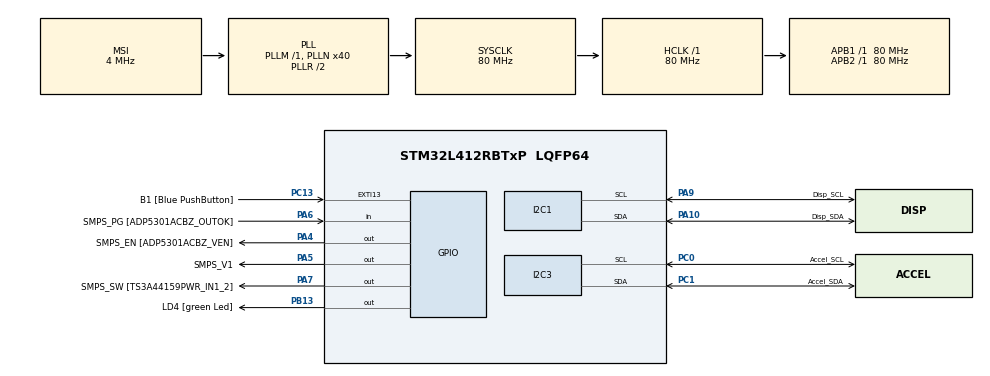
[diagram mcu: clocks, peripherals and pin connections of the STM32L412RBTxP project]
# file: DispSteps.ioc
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I2C1.Timing=0x10909CEC
I2C3.Timing=0x10909CEC
Mcu.Family=STM32L4
Mcu.Name=STM32L412RBTxP
Mcu.Package=LQFP64
NVIC.PriorityGroup=NVIC_PRIORITYGROUP_4
PA10.GPIO_Label=Disp_SDA
PA10.Mode=I2C
PA10.Signal=I2C1_SDA
PA13\ (JTMS/SWDIO).GPIO_Label=TMS
PA13\ (JTMS/SWDIO).Signal=SYS_JTMS-SWDIO
PA14\ (JTCK/SWCLK).GPIO_Label=TCK
PA14\ (JTCK/SWCLK).Signal=SYS_JTCK-SWCLK
PA2.GPIO_Label=USART_TX
PA2.GPIO_PuPd=GPIO_NOPULL
PA2.GPIO_Speed=GPIO_SPEED_FREQ_VERY_HIGH
PA2.Signal=USART2_TX
PA3.GPIO_Label=USART_RX
PA3.GPIO_PuPd=GPIO_NOPULL
PA3.GPIO_Speed=GPIO_SPEED_FREQ_VERY_HIGH
PA3.Signal=USART2_RX
PA4.GPIO_Label=SMPS_EN [ADP5301ACBZ_VEN]
PA4.Signal=GPIO_Output
PA5.GPIO_Label=SMPS_V1
PA5.GPIO_ModeDefaultOutputPP=GPIO_MODE_OUTPUT_PP
PA5.GPIO_PuPd=GPIO_NOPULL
PA5.GPIO_Speed=GPIO_SPEED_FREQ_LOW
PA5.Signal=GPIO_Output
PA6.GPIO_Label=SMPS_PG [ADP5301ACBZ_OUTOK]
PA6.GPIO_PuPd=GPIO_PULLUP
PA6.Signal=GPIO_Input
PA7.GPIO_Label=SMPS_SW [TS3A44159PWR_IN1_2]
PA7.Signal=GPIO_Output
PA9.GPIO_Label=Disp_SCL
PA9.Mode=I2C
PA9.Signal=I2C1_SCL
PB13.GPIO_Label=LD4 [green Led]
PB13.Signal=GPIO_Output
PB3\ (JTDO/TRACESWO).GPIO_Label=SWO
PB3\ (JTDO/TRACESWO).Signal=SYS_JTDO-SWO
PC0.GPIO_Label=Accel_SCL
PC0.Mode=I2C
PC0.Signal=I2C3_SCL
PC1.GPIO_Label=Accel_SDA
PC1.Mode=I2C
PC1.Signal=I2C3_SDA
PC13.GPIO_Label=B1 [Blue PushButton]
PC13.GPIO_ModeDefaultEXTI=GPIO_MODE_IT_FALLING
PC13.GPIO_PuPd=GPIO_NOPULL
PC13.Signal=GPXTI13
PC14-OSC32_IN\ (PC14).Signal=RCC_OSC32_IN
PC15-OSC32_OUT\ (PC15).Signal=RCC_OSC32_OUT
PH0-OSC_IN\ (PH0).GPIO_Label=MCO
PH0-OSC_IN\ (PH0).Signal=RCC_OSC_IN
PH1-OSC_OUT\ (PH1).Signal=RCC_OSC_OUT
ProjectManager.HeapSize=0x200
ProjectManager.StackSize=0x400
ProjectManager.TargetToolchain=STM32CubeIDE
RCC.ADCFreq_Value=80000000
RCC.AHBFreq_Value=80000000
RCC.APB1Freq_Value=80000000
RCC.APB1TimFreq_Value=80000000
RCC.APB2Freq_Value=80000000
RCC.APB2TimFreq_Value=80000000
RCC.CortexFreq_Value=80000000
RCC.FLatency=FLASH_LATENCY_4
RCC.HCLKFreq_Value=80000000
RCC.HSE_VALUE=8000000
RCC.HSI48_VALUE=48000000
RCC.HSICalibrationValue=16
RCC.HSI_VALUE=16000000
RCC.LSE_VALUE=32768
RCC.MSI_VALUE=4000000
RCC.PLLN=40
RCC.PREFETCH_ENABLE=1
RCC.SYSCLKFreq_VALUE=80000000
RCC.SYSCLKSource=RCC_SYSCLKSOURCE_PLLCLK
RCC.USBFreq_Value=4000000
RCC.VCOOutputFreq_Value=160000000
board=NUCLEO-L412RB-P

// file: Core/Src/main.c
/* USER CODE BEGIN Header */
/**
  ******************************************************************************
  * @file           : main.c
  * @brief          : Main program body
  ******************************************************************************
  * @attention
  *
  * Copyright (c) 2023 STMicroelectronics.
  * All rights reserved.
  *
  * This software is licensed under terms that can be found in the LICENSE file
  * in the root directory of this software component.
  * If no LICENSE file comes with this software, it is provided AS-IS.
  *
  ******************************************************************************
  */
/* USER CODE END Header */
#include "main.h"

/* USER CODE BEGIN Includes */
#include <string.h>
#include <stdio.h>
#include "stm32l4xx.h"
#include "I2C.h"
#include "ssd1306.h"
#include "lis3dh.h"
#include "count_steps.h"
#include "stdio.h"  //using this for printing debug outputs
#include "math.h"   //using this for converting the CSV data from float to int
/* USER CODE END Includes */

/* USER CODE BEGIN PD */
#define NUM_SAMPLES_IN_CSV_FILE 200//400
/* USER CODE END PD */

I2C_HandleTypeDef hi2c1;
I2C_HandleTypeDef hi2c3;

/* USER CODE BEGIN PV */
// Allocate a buffer for reading data from the sensor.
// Six bytes required to read XYZ data.
uint8_t xyz_buf[6] = { 0 };
// New instance of the lis3dh convenience object.
lis3dh_t lis3dh;

// lis3dh calls return this HAL status type.
HAL_StatusTypeDef status;
/* USER CODE END PV */

void SystemClock_Config(void);
static void MX_GPIO_Init(void);
static void MX_I2C1_Init(void);
static void MX_I2C3_Init(void);

int main(void)
{

  /* MCU Configuration--------------------------------------------------------*/

  /* Reset of all peripherals, Initializes the Flash interface and the Systick. */
  HAL_Init();

  /* Configure the system clock */
  SystemClock_Config();

  /* Initialize all configured peripherals */
  MX_GPIO_Init();
  MX_I2C1_Init();
  MX_I2C3_Init();
  /* USER CODE BEGIN 2 */

  status = lis3dh_init(&lis3dh, &hi2c3, xyz_buf, 6);

        if (status != HAL_OK) {
        	 HAL_GPIO_TogglePin(GPIOB, GPIO_PIN_13);
          // Unable to communicate with device!
        }

        char message[64] = "Starting Up";
          //ssd1306_TestAll();
          ssd1306_Init();
          ssd1306_Fill(Black);
          ssd1306_SetCursor(2,0);
          ssd1306_WriteString(message, Font_11x18, White);
          ssd1306_UpdateScreen();
  /* USER CODE END 2 */

  /* Infinite loop */
  /* USER CODE BEGIN WHILE */
        uint8_t  num_steps  = 0;
        //char buf[20];
        while (1)
              {
        	//hold the data from the CSV file in a fifo-like data structure where the accelerometer data looks like
        	        	    	    //[x1,y1,z1,x2,y2,z2...x400,y400,z400]
        	        	    	    int8_t acc[NUM_SAMPLES_IN_CSV_FILE*3] = {0};
        	        	    	    uint16_t i    = 0;
        	        	    	    float    temp = 0;
        	        	    	    while(i < NUM_SAMPLES_IN_CSV_FILE*3) //while data array is being filled
        	        	        	{
        	        	    			  HAL_Delay(50); //20Hz
        	        	    			  HAL_GPIO_TogglePin(GPIOB, GPIO_PIN_13);

        	        	    			//scaling factor to convert the decimal data to int8 integers. calculated in matlab by taking the absolute value of all the data
        	        	    			//and then calculating the max of that data. then divide that by 127 to get the scaling factor
        	        	    			  float scale_factor = 55.3293;

        	        					  if (lis3dh_xyz_available(&lis3dh)) {
        	        							status = lis3dh_get_xyz(&lis3dh);
        	        							float xx = lis3dh.x/16384;
        	        							float yy = lis3dh.y/16384;
        	        							float zz = lis3dh.z/16384;

        	        							temp     = roundf(xx*scale_factor);
        	        							acc[i++] = (int8_t)temp;

        	        							temp     = roundf(yy*scale_factor);
        	        							acc[i++] = (int8_t)temp;

        	        							temp     = roundf(zz*scale_factor);
        	        							acc[i++] = (int8_t)temp;

        	        							//printf("%f, %f, %f\r\n",xx,yy,zz);
        	        							// You now have raw acceleration of gravity in lis3dh->x, y, and z.

        	        						  }
        	        	        	  }
        	        	        	  //pass data to step counting algorithm, 4 seconds at a time (which is the WINDOW_LENGTH). put the data into a temporary buffer each loop
        	        	        	      int8_t   data[NUM_TUPLES*3] = {0};
        	        	        	      uint8_t  num_segments       = NUM_SAMPLES_IN_CSV_FILE/(SAMPLING_RATE*WINDOW_LENGTH);
        	        	        	      uint16_t j                  = 0;

        	        	        	      for (i = 0; i < num_segments; i++) {
        	        	        	          for (j = SAMPLING_RATE*WINDOW_LENGTH*i*3; j < SAMPLING_RATE*WINDOW_LENGTH*(i+1)*3; j++) {
        	        	        	              data[j-SAMPLING_RATE*WINDOW_LENGTH*i*3] = acc[j];
        	        	        	          }
        	        	        	          num_steps += count_steps(data);
        	        	        	      }

        	        	        	      printf("num steps: %i\n\r", num_steps);
        	        	        	      ssd1306_Fill(Black);
        	        	        	      ssd1306_SetCursor(2,0);
        	        	        	      ssd1306_WriteString("Steps:", Font_11x18, White);
        	        	        	      ssd1306_SetCursor(2,15);
        	        	        	      ssd1306_WriteString(itoa(num_steps,message,10), Font_11x18, White);
        	        	        	      ssd1306_SetCursor(2,30);
        	        	        	      ssd1306_WriteString("Distance:", Font_11x18, White);
        	        	        	      ssd1306_SetCursor(2,45);
        	        	        	      ssd1306_WriteString("20 miles", Font_11x18, White);
        	        	        	      ssd1306_UpdateScreen();
    /* USER CODE END WHILE */

              }
}

void SystemClock_Config(void)
{
  RCC_OscInitTypeDef RCC_OscInitStruct = {0};
  RCC_ClkInitTypeDef RCC_ClkInitStruct = {0};

  /** Configure the main internal regulator output voltage
  */
  if (HAL_PWREx_ControlVoltageScaling(PWR_REGULATOR_VOLTAGE_SCALE1) != HAL_OK)
  {
    Error_Handler();
  }

  /** Initializes the RCC Oscillators according to the specified parameters
  * in the RCC_OscInitTypeDef structure.
  */
  RCC_OscInitStruct.OscillatorType = RCC_OSCILLATORTYPE_MSI;
  RCC_OscInitStruct.MSIState = RCC_MSI_ON;
  RCC_OscInitStruct.MSICalibrationValue = 0;
  RCC_OscInitStruct.MSIClockRange = RCC_MSIRANGE_6;
  RCC_OscInitStruct.PLL.PLLState = RCC_PLL_ON;
  RCC_OscInitStruct.PLL.PLLSource = RCC_PLLSOURCE_MSI;
  RCC_OscInitStruct.PLL.PLLM = 1;
  RCC_OscInitStruct.PLL.PLLN = 40;
  RCC_OscInitStruct.PLL.PLLQ = RCC_PLLQ_DIV2;
  RCC_OscInitStruct.PLL.PLLR = RCC_PLLR_DIV2;
  if (HAL_RCC_OscConfig(&RCC_OscInitStruct) != HAL_OK)
  {
    Error_Handler();
  }

  /** Initializes the CPU, AHB and APB buses clocks
  */
  RCC_ClkInitStruct.ClockType = RCC_CLOCKTYPE_HCLK|RCC_CLOCKTYPE_SYSCLK
                              |RCC_CLOCKTYPE_PCLK1|RCC_CLOCKTYPE_PCLK2;
  RCC_ClkInitStruct.SYSCLKSource = RCC_SYSCLKSOURCE_PLLCLK;
  RCC_ClkInitStruct.AHBCLKDivider = RCC_SYSCLK_DIV1;
  RCC_ClkInitStruct.APB1CLKDivider = RCC_HCLK_DIV1;
  RCC_ClkInitStruct.APB2CLKDivider = RCC_HCLK_DIV1;

  if (HAL_RCC_ClockConfig(&RCC_ClkInitStruct, FLASH_LATENCY_4) != HAL_OK)
  {
    Error_Handler();
  }
}

static void MX_I2C1_Init(void)
{

  hi2c1.Instance = I2C1;
  hi2c1.Init.Timing = 0x10909CEC;
  hi2c1.Init.OwnAddress1 = 0;
  hi2c1.Init.AddressingMode = I2C_ADDRESSINGMODE_7BIT;
  hi2c1.Init.DualAddressMode = I2C_DUALADDRESS_DISABLE;
  hi2c1.Init.OwnAddress2 = 0;
  hi2c1.Init.OwnAddress2Masks = I2C_OA2_NOMASK;
  hi2c1.Init.GeneralCallMode = I2C_GENERALCALL_DISABLE;
  hi2c1.Init.NoStretchMode = I2C_NOSTRETCH_DISABLE;
  if (HAL_I2C_Init(&hi2c1) != HAL_OK)
  {
    Error_Handler();
  }

  /** Configure Analogue filter
  */
  if (HAL_I2CEx_ConfigAnalogFilter(&hi2c1, I2C_ANALOGFILTER_ENABLE) != HAL_OK)
  {
    Error_Handler();
  }

  /** Configure Digital filter
  */
  if (HAL_I2CEx_ConfigDigitalFilter(&hi2c1, 0) != HAL_OK)
  {
    Error_Handler();
  }

}

static void MX_I2C3_Init(void)
{

  hi2c3.Instance = I2C3;
  hi2c3.Init.Timing = 0x10909CEC;
  hi2c3.Init.OwnAddress1 = 0;
  hi2c3.Init.AddressingMode = I2C_ADDRESSINGMODE_7BIT;
  hi2c3.Init.DualAddressMode = I2C_DUALADDRESS_DISABLE;
  hi2c3.Init.OwnAddress2 = 0;
  hi2c3.Init.OwnAddress2Masks = I2C_OA2_NOMASK;
  hi2c3.Init.GeneralCallMode = I2C_GENERALCALL_DISABLE;
  hi2c3.Init.NoStretchMode = I2C_NOSTRETCH_DISABLE;
  if (HAL_I2C_Init(&hi2c3) != HAL_OK)
  {
    Error_Handler();
  }

  /** Configure Analogue filter
  */
  if (HAL_I2CEx_ConfigAnalogFilter(&hi2c3, I2C_ANALOGFILTER_ENABLE) != HAL_OK)
  {
    Error_Handler();
  }

  /** Configure Digital filter
  */
  if (HAL_I2CEx_ConfigDigitalFilter(&hi2c3, 0) != HAL_OK)
  {
    Error_Handler();
  }

}

static void MX_GPIO_Init(void)
{
  GPIO_InitTypeDef GPIO_InitStruct = {0};

  /* GPIO Ports Clock Enable */
  __HAL_RCC_GPIOC_CLK_ENABLE();
  __HAL_RCC_GPIOH_CLK_ENABLE();
  __HAL_RCC_GPIOA_CLK_ENABLE();
  __HAL_RCC_GPIOB_CLK_ENABLE();

  /*Configure GPIO pin Output Level */
  HAL_GPIO_WritePin(GPIOA, SMPS_EN_Pin|SMPS_V1_Pin|SMPS_SW_Pin, GPIO_PIN_RESET);

  /*Configure GPIO pin Output Level */
  HAL_GPIO_WritePin(LD4_GPIO_Port, LD4_Pin, GPIO_PIN_RESET);

  /*Configure GPIO pin : B1_Pin */
  GPIO_InitStruct.Pin = B1_Pin;
  GPIO_InitStruct.Mode = GPIO_MODE_IT_FALLING;
  GPIO_InitStruct.Pull = GPIO_NOPULL;
  HAL_GPIO_Init(B1_GPIO_Port, &GPIO_InitStruct);

  /*Configure GPIO pins : USART_TX_Pin USART_RX_Pin */
  GPIO_InitStruct.Pin = USART_TX_Pin|USART_RX_Pin;
  GPIO_InitStruct.Mode = GPIO_MODE_AF_PP;
  GPIO_InitStruct.Pull = GPIO_NOPULL;
  GPIO_InitStruct.Speed = GPIO_SPEED_FREQ_VERY_HIGH;
  GPIO_InitStruct.Alternate = GPIO_AF7_USART2;
  HAL_GPIO_Init(GPIOA, &GPIO_InitStruct);

  /*Configure GPIO pins : SMPS_EN_Pin SMPS_V1_Pin SMPS_SW_Pin */
  GPIO_InitStruct.Pin = SMPS_EN_Pin|SMPS_V1_Pin|SMPS_SW_Pin;
  GPIO_InitStruct.Mode = GPIO_MODE_OUTPUT_PP;
  GPIO_InitStruct.Pull = GPIO_NOPULL;
  GPIO_InitStruct.Speed = GPIO_SPEED_FREQ_LOW;
  HAL_GPIO_Init(GPIOA, &GPIO_InitStruct);

  /*Configure GPIO pin : SMPS_PG_Pin */
  GPIO_InitStruct.Pin = SMPS_PG_Pin;
  GPIO_InitStruct.Mode = GPIO_MODE_INPUT;
  GPIO_InitStruct.Pull = GPIO_PULLUP;
  HAL_GPIO_Init(SMPS_PG_GPIO_Port, &GPIO_InitStruct);

  /*Configure GPIO pin : LD4_Pin */
  GPIO_InitStruct.Pin = LD4_Pin;
  GPIO_InitStruct.Mode = GPIO_MODE_OUTPUT_PP;
  GPIO_InitStruct.Pull = GPIO_NOPULL;
  GPIO_InitStruct.Speed = GPIO_SPEED_FREQ_LOW;
  HAL_GPIO_Init(LD4_GPIO_Port, &GPIO_InitStruct);

}

void Error_Handler(void)
{
  __disable_irq();
  while (1)
  {
  }
}
